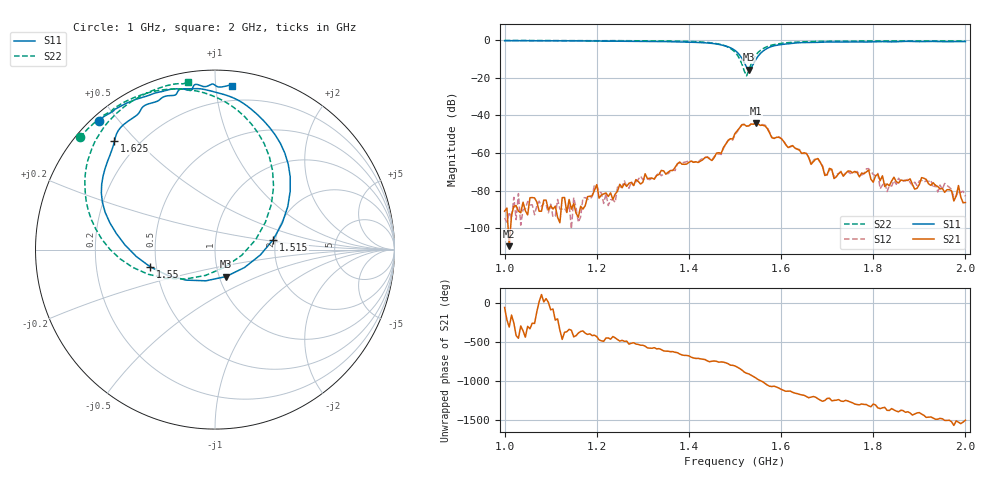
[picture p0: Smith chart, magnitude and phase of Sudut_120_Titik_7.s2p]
# Hz S RI R 50
! CMT, C1220, 16058040, 17.2.0/1
! Date: 14/08/2018 12:13:35
! Data: Format (Calibration Info)
! Freq  S11: Re/Im (F2)  S21: Re/Im (F2)  S12: Re/Im (F2)  S22: Re/Im (F2)
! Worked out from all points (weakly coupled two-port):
!   201 points, 1 GHz to 2 GHz, reference 50 ohm
!   highest |S21| = -44.05 dB at 1.545 GHz (marker M1); lowest = -109.6 dB at 1.01 GHz (marker M2)
!   lowest |S11| = -15.8 dB at 1.53 GHz (marker M3), VSWR 1.39, Z = 53.9 - j16.6 ohm
!   |S11| at or under -10 dB: 1.516 GHz to 1.546 GHz (30.3 MHz wide, 1.98 % of centre)
!   |S22| runs from -19.0 to -0.2 dB; largest |S21 - S12| = 0.00031
!   S11 on the Smith chart (normalised r, x): 1 GHz: 0.02, +0.44; 1.515 GHz: 1.94, +0.24; 1.55 GHz: 0.46, -0.10; 1.625 GHz: 0.12, +0.43; 2 GHz: 0.10, +1.11
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1e9  -0.6468 0.7144  1.74e-05 -2.23e-05  -7.17e-06 1.7e-05  -0.7536 0.6249
1.01e9  -0.6336 0.7243  1.86e-06 2.74e-06  -2.66e-05 2.15e-06  -0.7463 0.6328
1.17e9  -0.4773 0.8224  3.2e-05 2.94e-06  4.76e-05 -4.34e-05  -0.6166 0.7507
1.335e9  -0.218 0.8955  -0.000193 0.000183  -0.000164 0.000263  -0.4005 0.8654
1.45e9  0.1809 0.7988  0.000568 -0.000273  0.000563 -0.000332  0.0241 0.8402
1.5e9  0.4192 0.327  0.000179 -0.00328  0.000116 -0.00306  0.3264 0.3493
1.515e9  0.3244 0.0557  -0.00429 -0.0036  -0.00423 -0.00377  0.2263 0.0548
1.53e9  0.0619 -0.15  -0.00516 0.000929  -0.00522 0.000967  -0.0529 -0.1438
1.545e9  -0.2664 -0.1427  -0.003 0.00551  -0.00309 0.00541  -0.3727 -0.1372
1.55e9  -0.3597 -0.0967  -0.000812 0.00581  -0.00103 0.00583  -0.4586 -0.0988
1.625e9  -0.5602 0.6032  0.000593 -0.00145  0.000646 -0.00139  -0.701 0.5204
1.67e9  -0.4416 0.7444  -0.00031 -0.000495  -0.00033 -0.000525  -0.6255 0.6722
1.715e9  -0.3607 0.815  -0.000206 -2.72e-05  -0.000228 -2.28e-05  -0.5508 0.7572
1.79e9  -0.2139 0.8682  -0.000155 0.000314  -0.000179 0.000338  -0.4381 0.8409
1.8e9  -0.2066 0.8825  -0.000129 0.000105  -5.57e-05 0.000264  -0.4242 0.8493
1.81e9  -0.1944 0.8933  -6.12e-06 0.000273  -5.96e-06 0.000285  -0.4103 0.8574
1.815e9  -0.1857 0.895  2.73e-05 0.000181  1.25e-05 0.000111  -0.4033 0.8609
1.835e9  -0.1433 0.8871  7.13e-05 0.000114  0.000108 8.31e-05  -0.3765 0.874
1.88e9  -0.0963 0.9193  0.000186 8.67e-05  0.00013 9.81e-05  -0.3132 0.8992
1.89e9  -0.0761 0.9118  0.000107 2.17e-05  0.000164 3.3e-05  -0.2985 0.9041
1.905e9  -0.0464 0.9092  0.000216 4.03e-05  0.000186 7.44e-08  -0.2784 0.9107
2e9  0.096 0.9125  1.78e-05 -4.46e-05  -8.13e-06 -6.96e-05  -0.1524 0.9329
